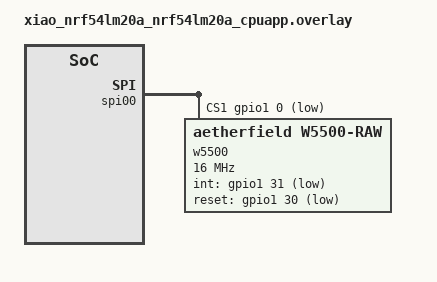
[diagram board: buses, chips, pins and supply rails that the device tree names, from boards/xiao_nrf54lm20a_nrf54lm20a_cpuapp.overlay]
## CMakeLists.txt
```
cmake_minimum_required(VERSION 3.20.0)
find_package(Zephyr REQUIRED HINTS $ENV{ZEPHYR_BASE})

project(pixel-gateway)

# aura_radio.h — the source of truth for the wire format. Shared with the
# device firmware so the two cannot drift.
target_include_directories(app PRIVATE ${CMAKE_CURRENT_SOURCE_DIR}/../../include)

target_sources(app PRIVATE
  src/main.c
  src/w5500.c
  src/link.c
)
```

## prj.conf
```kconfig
# Aetherfield Pixel gateway — XIAO nRF54LM20A + W5500.
#
# Note what is NOT here: CONFIG_NET_L2_ETHERNET, CONFIG_NET_IPV4,
# CONFIG_NET_SOCKETS. The W5500 runs its own TCP stack in silicon and we drive
# it over SPI, so Zephyr's networking subsystem stays out of the image. That is
# what lets the 802.15.4 raw path keep owning net_recv_data() — turning on the
# IP stack would put Zephyr's Ethernet driver in the same symbol.

# --- 802.15.4 raw mode: unchanged from the working gateway firmware ---------
CONFIG_NETWORKING=y
CONFIG_IEEE802154=y
CONFIG_IEEE802154_RAW_MODE=y
CONFIG_NET_PKT_TIMESTAMP=y
CONFIG_NRF_802154_RX_BUFFERS=48

CONFIG_MAIN_STACK_SIZE=2048
CONFIG_HEAP_MEM_POOL_SIZE=8192

# --- W5500 ------------------------------------------------------------------
CONFIG_SPI=y
CONFIG_GPIO=y
# MAC address is derived from the SoC's factory device ID.
CONFIG_HWINFO=y

# --- console / shell --------------------------------------------------------
# The shell is not a convenience here: link.c routes every inbound server
# command through shell_execute_cmd(), so the command table IS the network
# command surface. Disabling the shell disables downlink.
CONFIG_SHELL=y
CONFIG_SHELL_BACKEND_SERIAL=y
CONFIG_SHELL_VT100_COLORS=n
# Async telemetry from the radio thread interleaves with the shell prompt, and
# the shell redraws it with VT100 cursor moves that land mid-line and break any
# parser reading it.
CONFIG_SHELL_VT100_COMMANDS=n

CONFIG_LOG=y
CONFIG_LOG_MODE_DEFERRED=y

# RF switch power/control are regulator-fixed nodes with regulator-boot-on;
# without this the RF switch IC is never powered and there is NO antenna path.
CONFIG_REGULATOR=y
```

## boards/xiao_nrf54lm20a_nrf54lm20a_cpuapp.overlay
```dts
/*
 * Aetherfield Pixel gateway — Seeed XIAO nRF54LM20A + Adafruit W5500.
 *
 * Wiring (XIAO header pin -> SoC pin):
 *
 *   W5500 SCK   D8    P1.04   |
 *   W5500 MISO  D9    P1.05   |  fixed: this is the XIAO SPI header
 *   W5500 MOSI  D10   P1.06   |
 *   W5500 CS    D0    P1.00
 *   W5500 INT   D1    P1.31   (wired, but the driver polls — see below)
 *   W5500 RST   D2    P1.30
 *
 * Feed the breakout from 5V, not 3V3. The W5500 pulls ~150 mA with the link
 * up, which is more than the XIAO's own regulator should be asked for.
 *
 * D6/D7 are left alone so uart21 stays available as a debug console.
 */

/ {
	chosen {
		/* Console and shell over the onboard SAMD11 to USB-C. The
		 * server link is Ethernet, so the UART is purely for humans. */
		zephyr,console = &uart20;
		zephyr,shell-uart = &uart20;
	};
};

&spi00 {
	status = "okay";

	/*
	 * Entry 0 is whatever the board already had — keep it so any onboard
	 * SPI device keeps its chip select. The W5500 is appended as entry 1,
	 * which is what its reg = <1> selects.
	 */
	cs-gpios = <&gpio2 5 GPIO_ACTIVE_LOW>,
		   <&gpio1 0 GPIO_ACTIVE_LOW>;   /* D0 */

	w5500: w5500@1 {
		compatible = "aetherfield,w5500-raw";
		reg = <1>;
		/* 16 MHz. The part will do far more, but this is a flying-lead
		 * breakout on a header — leave the margin in. */
		spi-max-frequency = <16000000>;
		int-gpios   = <&gpio1 31 GPIO_ACTIVE_LOW>;  /* D1 */
		reset-gpios = <&gpio1 30 GPIO_ACTIVE_LOW>;  /* D2 */
	};
};
```

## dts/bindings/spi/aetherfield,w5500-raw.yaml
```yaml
# WIZnet W5500 addressed directly through its own hardware TCP sockets.
#
# Deliberately NOT "wiznet,w5500": that compatible binds Zephyr's Ethernet
# driver, which pushes frames up the IP stack through net_recv_data() — the
# same symbol the raw 802.15.4 receive path already owns. Driving the W5500's
# on-chip TCP stack instead keeps Zephyr networking out of the image entirely,
# so the radio code needs no changes at all.

description: WIZnet W5500 driven via its on-chip TCP/IP stack

compatible: "aetherfield,w5500-raw"

include: spi-device.yaml

properties:
  int-gpios:
    type: phandle-array
    required: false
    description: W5500 INTn, active low. Unused today; polled instead.

  reset-gpios:
    type: phandle-array
    required: true
    description: W5500 RSTn, active low. Held low >500us to reset the chip.
```

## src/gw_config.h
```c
/*
 * Per-gateway configuration.
 *
 * Static addressing, deliberately. On a dedicated event LAN with four
 * gateways per server there is no DHCP server worth depending on at 3am, and
 * a fixed address means "which gateway is that" is answerable from a switch
 * port. The last octet is the gateway number, so gw-01 is .11, gw-02 is .12.
 *
 * Override any of these at build time without editing the file:
 *   west build -- -DCONFIG_... no; these are plain defines, so use:
 *   -DEXTRA_CFLAGS="-DGW_INDEX=2"
 */
#ifndef GW_CONFIG_H
#define GW_CONFIG_H

/* 1..4 within a server's group. Sets the IP and the HELLO name. */
#ifndef GW_INDEX
#define GW_INDEX 1
#endif

/* Server (the Beelink) and the port aetherfield-pixel listens on. */
#define GW_SERVER_IP    "10.10.0.1"
#define GW_SERVER_PORT  9000

/* This gateway. */
#define GW_IP_PREFIX    "10.10.0."
#define GW_IP_BASE      10          /* + GW_INDEX  ->  10.10.0.11 for gw-01 */
#define GW_NETMASK      "255.255.255.0"
#define GW_ROUTER       "10.10.0.254"

/* Local TCP source port. Distinct per gateway only to make packet captures
 * easier to read; the server does not care. */
#define GW_LOCAL_PORT   (50000 + GW_INDEX)

/*
 * Link timings, from docs/PROTOCOL.md.
 *   PING when idle so NAT and switch state stay alive and both ends get a
 *   liveness signal; reconnect forever, because the server never dials out
 *   and a gateway that gives up is gone until someone power-cycles it.
 */
#define GW_PING_INTERVAL_MS   25000
#define GW_RECONNECT_MIN_MS   500
#define GW_RECONNECT_MAX_MS   15000

/* Outbound line buffer. Beacons at 10 s across a few hundred devices is a
 * few hundred bytes a second, so this is generous. */
#define GW_TXQ_BYTES          4096
#define GW_LINE_MAX           256

#endif /* GW_CONFIG_H */
```

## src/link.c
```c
/*
 * Server link. See link.h.
 *
 * One thread owns the socket and does everything on it, so there is no locking
 * around the W5500 beyond the outbound ring buffer. Telemetry producers (the
 * radio receive path, the shell) only ever push bytes into that ring.
 *
 * Inbound lines are handed to the Zephyr shell with shell_execute_cmd(). That
 * is deliberate and it is the reason this file is short: every command the
 * server can send — 'aura cmd ...', 'aura op ...', 'aura identify ...' — is
 * already implemented as a shell command in main.c, tested from the console,
 * and now reachable from the network with no duplicate parser to drift.
 */

#include <zephyr/kernel.h>
#include <zephyr/shell/shell.h>
#include <zephyr/sys/ring_buffer.h>
#include <zephyr/sys/printk.h>
#include <zephyr/logging/log.h>
#include <stdarg.h>
#include <stdio.h>
#include <string.h>

#include "link.h"
#include "w5500.h"
#include "gw_config.h"

LOG_MODULE_REGISTER(link, CONFIG_LOG_DEFAULT_LEVEL);

#define STACK_SIZE 3072
#define PRIORITY   6

static K_THREAD_STACK_DEFINE(link_stack, STACK_SIZE);
static struct k_thread link_thread_data;

RING_BUF_DECLARE(txq, GW_TXQ_BYTES);
static K_MUTEX_DEFINE(txq_lock);

static atomic_t g_up = ATOMIC_INIT(0);

/* Assembled-but-unsent partial line from gw_emit(). */
static char   g_line[GW_LINE_MAX];
static size_t g_line_len;
static K_MUTEX_DEFINE(line_lock);

static char g_gw_name[16];

bool link_up(void)
{
	return atomic_get(&g_up) != 0;
}

/* ---- outbound ----------------------------------------------------------- */

static void txq_put(const char *s, size_t len)
{
	k_mutex_lock(&txq_lock, K_FOREVER);

	/*
	 * If the queue is full the link is down or the server has stopped
	 * reading. Drop the OLDEST data, not the newest: current presence is
	 * worth more than a backlog of stale beacons, and dropping the new
	 * line would mean the first thing the server sees after a stall is
	 * already out of date.
	 */
	uint32_t space = ring_buf_space_get(&txq);

	if (space < len) {
		uint8_t scratch[128];
		uint32_t need = len - space;

		while (need > 0) {
			uint32_t n = MIN(need, sizeof(scratch));
			uint32_t got = ring_buf_get(&txq, scratch, n);

			if (got == 0) {
				break;
			}
			need -= got;
		}
	}
	ring_buf_put(&txq, (const uint8_t *)s, len);
	k_mutex_unlock(&txq_lock);
}

void gw_emit(const char *fmt, ...)
{
	char chunk[GW_LINE_MAX];
	va_list ap;

	va_start(ap, fmt);
	int n = vsnprintk(chunk, sizeof(chunk), fmt, ap);
	va_end(ap);

	if (n <= 0) {
		return;
	}
	if (n >= (int)sizeof(chunk)) {
		n = sizeof(chunk) - 1;
	}

	/* Always mirror to the local console, unconditionally and first, so a
	 * human on USB still sees telemetry when the link is down — which is
	 * exactly when they will be looking. */
	printk("%s", chunk);

	k_mutex_lock(&line_lock, K_FOREVER);
	for (int i = 0; i < n; i++) {
		char c = chunk[i];

		if (g_line_len < sizeof(g_line) - 1) {
			g_line[g_line_len++] = c;
		}
		if (c == '\n') {
			txq_put(g_line, g_line_len);
			g_line_len = 0;
		}
	}
	k_mutex_unlock(&line_lock);
}

/* Send a control line immediately, bypassing the queue's drop policy. */
static int send_now(const char *s)
{
	size_t len = strlen(s);
	size_t sent = 0;

	while (sent < len) {
		int n = w5500_send((const uint8_t *)s + sent, len - sent);

		if (n < 0) {
			return n;
		}
		if (n == 0) {
			k_msleep(2);
			continue;
		}
		sent += n;
	}
	return 0;
}

static int drain_txq(void)
{
	uint8_t buf[256];

	for (;;) {
		k_mutex_lock(&txq_lock, K_FOREVER);
		uint32_t n = ring_buf_get(&txq, buf, sizeof(buf));
		k_mutex_unlock(&txq_lock);

		if (n == 0) {
			return 0;
		}

		uint32_t sent = 0;

		while (sent < n) {
			int w = w5500_send(buf + sent, n - sent);

			if (w < 0) {
				return w;
			}
			if (w == 0) {
				k_msleep(2);
				continue;
			}
			sent += w;
		}
	}
}

/* ---- inbound ------------------------------------------------------------ */

static void handle_line(char *line)
{
	/* Trim CR and trailing space so a line typed into a telnet session
	 * behaves the same as one from the server. */
	size_t len = strlen(line);

	while (len && (line[len - 1] == '\r' || line[len - 1] == ' ')) {
		line[--len] = '\0';
	}
	if (len == 0) {
		return;
	}

	if (strcmp(line, "PING") == 0) {
		send_now("PONG\n");
		return;
	}
	if (strcmp(line, "PONG") == 0) {
		return;
	}

	/*
	 * Anything else is a gateway shell command. Its output goes to the
	 * console rather than back down the socket — the server learns what
	 * happened from the next round of beacons, which carry the CMD seq
	 * each device actually applied. That is a better acknowledgement than
	 * the gateway saying "I sent it".
	 */
	int err = shell_execute_cmd(NULL, line);

	if (err) {
		LOG_WRN("server sent '%s' -> %d", line, err);
	}
}

static void pump_rx(void)
{
	static char acc[GW_LINE_MAX];
	static size_t acc_len;
	uint8_t buf[256];

	for (;;) {
		int n = w5500_recv(buf, sizeof(buf));

		if (n <= 0) {
			return;
		}
		for (int i = 0; i < n; i++) {
			char c = (char)buf[i];

			if (c == '\n') {
				acc[acc_len] = '\0';
				handle_line(acc);
				acc_len = 0;
			} else if (acc_len < sizeof(acc) - 1) {
				acc[acc_len++] = c;
			} else {
				/* Over-long line. The protocol says the server
				 * drops a connection that sends one; we just
				 * discard and resynchronise at the next newline
				 * rather than tearing down a link mid-show over
				 * one bad line. */
				acc_len = 0;
			}
		}
	}
}

/* ---- thread ------------------------------------------------------------- */

static void link_thread(void *a, void *b, void *c)
{
	ARG_UNUSED(a); ARG_UNUSED(b); ARG_UNUSED(c);

	char ip[16];
	uint32_t backoff = GW_RECONNECT_MIN_MS;

	snprintk(g_gw_name, sizeof(g_gw_name), "gw-%02d", GW_INDEX);
	snprintk(ip, sizeof(ip), "%s%d", GW_IP_PREFIX, GW_IP_BASE + GW_INDEX);

	while (w5500_init(ip, GW_NETMASK, GW_ROUTER) < 0) {
		LOG_ERR("W5500 init failed; retrying in 5 s");
		k_msleep(5000);
	}

	for (;;) {
		atomic_set(&g_up, 0);

		if (!w5500_link_up()) {
			LOG_WRN("no Ethernet link — check the cable");
			while (!w5500_link_up()) {
				k_msleep(500);
			}
			LOG_INF("Ethernet link up");
		}

		LOG_INF("connecting to %s:%d as %s",
			GW_SERVER_IP, GW_SERVER_PORT, g_gw_name);
		w5500_connect(GW_SERVER_IP, GW_SERVER_PORT, GW_LOCAL_PORT);

		/* Bounded handshake window rather than blocking forever on a
		 * server that is not up yet. */
		int waited = 0;

		while (w5500_state() == W5500_CONNECTING && waited < 5000) {
			k_msleep(50);
			waited += 50;
		}

		if (w5500_state() != W5500_ESTABLISHED) {
			w5500_close();
			LOG_WRN("connect failed; retry in %u ms", backoff);
			k_msleep(backoff);
			backoff = MIN(backoff * 2, GW_RECONNECT_MAX_MS);
			continue;
		}

		/* HELLO first on every connect. Until it arrives the server can
		 * only identify us by IP and its console shows '(no HELLO)'. */
		char hello[64];

		snprintk(hello, sizeof(hello), "HELLO gw=%s fw=%s proto=2\n",
			 g_gw_name, "1.0.0");
		if (send_now(hello) < 0) {
			w5500_close();
			continue;
		}

		LOG_INF("link established");
		atomic_set(&g_up, 1);
		backoff = GW_RECONNECT_MIN_MS;

		int64_t last_tx = k_uptime_get();

		while (w5500_state() == W5500_ESTABLISHED) {
			if (drain_txq() < 0) {
				break;
			}
			pump_rx();

			if (!ring_buf_is_empty(&txq)) {
				last_tx = k_uptime_get();
			} else if (k_uptime_get() - last_tx >
				   GW_PING_INTERVAL_MS) {
				if (send_now("PING\n") < 0) {
					break;
				}
				last_tx = k_uptime_get();
			}
			k_msleep(5);
		}

		atomic_set(&g_up, 0);
		LOG_WRN("link lost; reconnecting");
		w5500_close();
		k_msleep(backoff);
		backoff = MIN(backoff * 2, GW_RECONNECT_MAX_MS);
	}
}

int link_init(void)
{
	k_thread_create(&link_thread_data, link_stack, STACK_SIZE,
			link_thread, NULL, NULL, NULL,
			PRIORITY, 0, K_NO_WAIT);
	k_thread_name_set(&link_thread_data, "gwlink");
	return 0;
}
```

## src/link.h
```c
/*
 * Server link: the gateway half of the line protocol in docs/PROTOCOL.md.
 *
 * Newline-delimited UTF-8 over one long-lived TCP connection. The gateway
 * dials the server; the server never dials out. Same text the gateway used to
 * print to the UART for the Pi bridge, so this was a transport swap and not a
 * protocol change.
 */
#ifndef LINK_H
#define LINK_H

#include <stdbool.h>

/* Start the link thread. Returns immediately; the thread brings the W5500 up,
 * connects, and reconnects forever. */
int link_init(void);

/* True once the socket is established and HELLO has gone out. */
bool link_up(void);

/*
 * Emit one line of telemetry. Printf semantics. Output is buffered until a
 * '\n' arrives, then the completed line goes to the server AND to the local
 * console, so a human on USB sees exactly what the server sees.
 *
 * Safe to call from any thread, including the radio receive path.
 */
void gw_emit(const char *fmt, ...);

#endif /* LINK_H */
```

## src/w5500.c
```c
/*
 * W5500 hardware-TCP driver. See w5500.h for why this exists rather than
 * Zephyr's wiznet,w5500 Ethernet driver.
 *
 * SPI framing, from the datasheet: every transaction is
 *
 *   [addr_hi] [addr_lo] [control] [data...]
 *
 * where control is  (block << 3) | (write << 2) | operation_mode.
 * Operation mode 0 is variable-length data, which is what lets us keep the
 * chip select asserted for a burst of arbitrary size.
 *
 * Block numbers: 0 is the common register file; each socket n then has three
 * blocks — registers at n*4+1, TX buffer at n*4+2, RX buffer at n*4+3.
 */

#include <zephyr/kernel.h>
#include <zephyr/device.h>
#include <zephyr/drivers/spi.h>
#include <zephyr/drivers/gpio.h>
#include <zephyr/drivers/hwinfo.h>
#include <zephyr/logging/log.h>
#include <string.h>
#include <stdlib.h>

#include "w5500.h"

LOG_MODULE_REGISTER(w5500, CONFIG_LOG_DEFAULT_LEVEL);

#define W5500_NODE DT_NODELABEL(w5500)

static const struct spi_dt_spec spi = SPI_DT_SPEC_GET(W5500_NODE,
	SPI_WORD_SET(8) | SPI_OP_MODE_MASTER | SPI_TRANSFER_MSB, 0);
static const struct gpio_dt_spec rst =
	GPIO_DT_SPEC_GET(W5500_NODE, reset_gpios);

/* ---- block selectors ---------------------------------------------------- */
#define BLK_COMMON        0x00
#define BLK_SOCK_REG(n)   ((n) * 4 + 1)
#define BLK_SOCK_TX(n)    ((n) * 4 + 2)
#define BLK_SOCK_RX(n)    ((n) * 4 + 3)

/* ---- common registers --------------------------------------------------- */
#define CR_MR             0x0000
#define CR_GAR            0x0001
#define CR_SUBR           0x0005
#define CR_SHAR           0x0009
#define CR_SIPR           0x000F
#define CR_PHYCFGR        0x002E
#define CR_VERSIONR       0x0039

#define MR_RST            0x80
#define PHYCFGR_LNK       0x01
#define W5500_VERSION     0x04

/* ---- socket registers --------------------------------------------------- */
#define SR_MR             0x0000
#define SR_CR             0x0001
#define SR_IR             0x0002
#define SR_SR             0x0003
#define SR_PORT           0x0004
#define SR_DIPR           0x000C
#define SR_DPORT          0x0010
#define SR_TX_FSR         0x0020
#define SR_TX_RD          0x0022
#define SR_TX_WR          0x0024
#define SR_RX_RSR         0x0026
#define SR_RX_RD          0x0028
#define SR_KPALVTR        0x002F

#define Sn_MR_TCP         0x01

#define Sn_CR_OPEN        0x01
#define Sn_CR_CONNECT     0x04
#define Sn_CR_DISCON      0x08
#define Sn_CR_CLOSE       0x10
#define Sn_CR_SEND        0x20
#define Sn_CR_RECV        0x40

#define Sn_SR_CLOSED      0x00
#define Sn_SR_INIT        0x13
#define Sn_SR_SYNSENT     0x15
#define Sn_SR_ESTABLISHED 0x17
#define Sn_SR_CLOSE_WAIT  0x1C

#define Sn_IR_SEND_OK     0x10
#define Sn_IR_TIMEOUT     0x08
#define Sn_IR_DISCON      0x02

#define SOCK 0    /* we use socket 0 and only socket 0 */

/* ---- raw register access ------------------------------------------------ */

static int xfer(uint16_t addr, uint8_t block, bool write,
		const uint8_t *out, uint8_t *in, size_t len)
{
	uint8_t hdr[3] = {
		(uint8_t)(addr >> 8),
		(uint8_t)(addr & 0xFF),
		(uint8_t)((block << 3) | (write ? 0x04 : 0x00)),
	};

	struct spi_buf tx_bufs[2] = {
		{ .buf = hdr, .len = sizeof(hdr) },
		{ .buf = (void *)out, .len = len },
	};
	const struct spi_buf_set tx = {
		.buffers = tx_bufs,
		.count = write ? 2 : 1,
	};

	if (write) {
		return spi_write_dt(&spi, &tx);
	}

	/* Read: clock out the header, discard those three bytes, then take
	 * len bytes back. The rx set must cover the header too or the driver
	 * will start capturing from the wrong offset. */
	uint8_t dump[3];
	struct spi_buf rx_bufs[2] = {
		{ .buf = dump, .len = sizeof(dump) },
		{ .buf = in,   .len = len },
	};
	const struct spi_buf_set rx = { .buffers = rx_bufs, .count = 2 };

	return spi_transceive_dt(&spi, &tx, &rx);
}

static uint8_t rd8(uint16_t addr, uint8_t block)
{
	uint8_t v = 0;

	xfer(addr, block, false, NULL, &v, 1);
	return v;
}

static void wr8(uint16_t addr, uint8_t block, uint8_t v)
{
	xfer(addr, block, true, &v, NULL, 1);
}

static void wrn(uint16_t addr, uint8_t block, const uint8_t *v, size_t n)
{
	xfer(addr, block, true, v, NULL, n);
}

/*
 * The 16-bit free/received-size registers are updated by the chip
 * asynchronously, so a single read can straddle an update and return a
 * value that was never true. The datasheet's remedy is to read until two
 * consecutive reads agree.
 */
static uint16_t rd16_stable(uint16_t addr, uint8_t block)
{
	uint8_t b[2];
	uint16_t prev, cur;

	xfer(addr, block, false, NULL, b, 2);
	prev = (uint16_t)((b[0] << 8) | b[1]);

	for (int i = 0; i < 8; i++) {
		xfer(addr, block, false, NULL, b, 2);
		cur = (uint16_t)((b[0] << 8) | b[1]);
		if (cur == prev) {
			return cur;
		}
		prev = cur;
	}
	return cur;
}

static void wr16(uint16_t addr, uint8_t block, uint16_t v)
{
	uint8_t b[2] = { (uint8_t)(v >> 8), (uint8_t)(v & 0xFF) };

	wrn(addr, block, b, 2);
}

/* Issue a socket command and wait for the chip to clear it. */
static void sock_cmd(uint8_t cmd)
{
	wr8(SR_CR, BLK_SOCK_REG(SOCK), cmd);
	for (int i = 0; i < 1000 && rd8(SR_CR, BLK_SOCK_REG(SOCK)); i++) {
		k_busy_wait(10);
	}
}

static uint8_t sock_status(void)
{
	return rd8(SR_SR, BLK_SOCK_REG(SOCK));
}

/* ---- address parsing ---------------------------------------------------- */

static int parse_ip(const char *s, uint8_t out[4])
{
	for (int i = 0; i < 4; i++) {
		char *end;
		long v = strtol(s, &end, 10);

		if (end == s || v < 0 || v > 255) {
			return -EINVAL;
		}
		out[i] = (uint8_t)v;
		s = (i < 3) ? end + 1 : end;
		if (i < 3 && *end != '.') {
			return -EINVAL;
		}
	}
	return 0;
}

/*
 * MAC from the SoC's factory device ID, with the locally-administered bit set
 * and the multicast bit cleared. Unique per unit with no provisioning step,
 * which matters when there are twenty of these in a venue.
 */
static void derive_mac(uint8_t mac[6])
{
	uint8_t id[16] = { 0 };
	ssize_t n = hwinfo_get_device_id(id, sizeof(id));

	if (n <= 0) {
		/* No hardware ID available. Fall back to something stable and
		 * obviously synthetic rather than a random MAC that changes on
		 * every boot and fills the switch's MAC table. */
		LOG_WRN("no hwinfo device id; using a fixed fallback MAC");
		id[0] = 0xAE; id[1] = 0x7F; id[2] = 0x00;
		id[3] = 0x00; id[4] = 0x00; n = 5;
	}

	mac[0] = 0x02;                       /* locally administered, unicast */
	for (int i = 1; i < 6; i++) {
		mac[i] = id[(n - i) % n];
	}
}

/* ---- public ------------------------------------------------------------- */

int w5500_init(const char *ip, const char *mask, const char *router)
{
	uint8_t v4[4], mac[6];
	int err;

	if (!spi_is_ready_dt(&spi)) {
		LOG_ERR("SPI not ready");
		return -ENODEV;
	}
	if (!gpio_is_ready_dt(&rst)) {
		LOG_ERR("reset GPIO not ready");
		return -ENODEV;
	}

	/* Hard reset. The datasheet wants RSTn low for at least 500 us and
	 * allows up to 50 ms before the chip answers; be generous, this
	 * happens once. */
	gpio_pin_configure_dt(&rst, GPIO_OUTPUT_ACTIVE);
	k_msleep(2);
	gpio_pin_set_dt(&rst, 0);
	k_msleep(100);

	/* Software reset on top, then confirm we are actually talking to a
	 * W5500 and not to an open bus. VERSIONR is a constant 0x04 — if this
	 * check fails, suspect wiring or chip select before anything else. */
	wr8(CR_MR, BLK_COMMON, MR_RST);
	k_msleep(10);

	uint8_t ver = rd8(CR_VERSIONR, BLK_COMMON);

	if (ver != W5500_VERSION) {
		LOG_ERR("VERSIONR=0x%02X, expected 0x%02X — check SPI wiring "
			"and that CS is on D0", ver, W5500_VERSION);
		return -ENODEV;
	}

	derive_mac(mac);
	wrn(CR_SHAR, BLK_COMMON, mac, 6);

	if ((err = parse_ip(ip, v4)) < 0) {
		return err;
	}
	wrn(CR_SIPR, BLK_COMMON, v4, 4);

	if ((err = parse_ip(mask, v4)) < 0) {
		return err;
	}
	wrn(CR_SUBR, BLK_COMMON, v4, 4);

	if ((err = parse_ip(router, v4)) < 0) {
		return err;
	}
	wrn(CR_GAR, BLK_COMMON, v4, 4);

	LOG_INF("W5500 up, MAC %02X:%02X:%02X:%02X:%02X:%02X, IP %s",
		mac[0], mac[1], mac[2], mac[3], mac[4], mac[5], ip);
	return 0;
}

bool w5500_link_up(void)
{
	return (rd8(CR_PHYCFGR, BLK_COMMON) & PHYCFGR_LNK) != 0;
}

int w5500_connect(const char *server_ip, uint16_t server_port,
		  uint16_t local_port)
{
	uint8_t v4[4];
	int err = parse_ip(server_ip, v4);

	if (err < 0) {
		return err;
	}

	sock_cmd(Sn_CR_CLOSE);
	wr8(SR_MR, BLK_SOCK_REG(SOCK), Sn_MR_TCP);
	wr16(SR_PORT, BLK_SOCK_REG(SOCK), local_port);
	sock_cmd(Sn_CR_OPEN);

	if (sock_status() != Sn_SR_INIT) {
		LOG_ERR("socket would not open (SR=0x%02X)", sock_status());
		return -EIO;
	}

	/* TCP keepalive in hardware, 5 s units. Belt and braces alongside the
	 * application PING — this one survives a wedged application thread. */
	wr8(SR_KPALVTR, BLK_SOCK_REG(SOCK), 6);   /* 30 s */

	wrn(SR_DIPR, BLK_SOCK_REG(SOCK), v4, 4);
	wr16(SR_DPORT, BLK_SOCK_REG(SOCK), server_port);
	sock_cmd(Sn_CR_CONNECT);
	return 0;
}

enum w5500_state w5500_state(void)
{
	switch (sock_status()) {
	case Sn_SR_ESTABLISHED:
		return W5500_ESTABLISHED;
	case Sn_SR_INIT:
	case Sn_SR_SYNSENT:
		return W5500_CONNECTING;
	default:
		return W5500_CLOSED;
	}
}

int w5500_send(const uint8_t *buf, size_t len)
{
	if (sock_status() != Sn_SR_ESTABLISHED) {
		return -ENOTCONN;
	}
	if (len == 0) {
		return 0;
	}

	uint16_t free = rd16_stable(SR_TX_FSR, BLK_SOCK_REG(SOCK));

	if (free == 0) {
		return 0;
	}
	if (len > free) {
		len = free;
	}

	uint16_t wr = rd16_stable(SR_TX_WR, BLK_SOCK_REG(SOCK));

	/* The TX buffer is a 16-bit ring, and the chip handles the wrap for
	 * us — the write pointer is an address into the socket's TX block and
	 * the block is exactly the buffer, so a burst that runs off the end
	 * continues at the start. Nothing to split. */
	xfer(wr, BLK_SOCK_TX(SOCK), true, buf, NULL, len);

	wr16(SR_TX_WR, BLK_SOCK_REG(SOCK), (uint16_t)(wr + len));
	sock_cmd(Sn_CR_SEND);

	/* Wait for SEND_OK so a caller that loops never runs ahead of the
	 * chip. TIMEOUT here means the peer stopped acknowledging. */
	for (int i = 0; i < 2000; i++) {
		uint8_t ir = rd8(SR_IR, BLK_SOCK_REG(SOCK));

		if (ir & Sn_IR_SEND_OK) {
			wr8(SR_IR, BLK_SOCK_REG(SOCK), Sn_IR_SEND_OK);
			return (int)len;
		}
		if (ir & Sn_IR_TIMEOUT) {
			wr8(SR_IR, BLK_SOCK_REG(SOCK), Sn_IR_TIMEOUT);
			LOG_WRN("TX timeout — peer stopped acking");
			return -ETIMEDOUT;
		}
		k_msleep(1);
	}
	return -ETIMEDOUT;
}

int w5500_recv(uint8_t *buf, size_t max)
{
	uint8_t st = sock_status();

	if (st != Sn_SR_ESTABLISHED && st != Sn_SR_CLOSE_WAIT) {
		return -ENOTCONN;
	}

	uint16_t avail = rd16_stable(SR_RX_RSR, BLK_SOCK_REG(SOCK));

	if (avail == 0) {
		return 0;
	}
	if (avail > max) {
		avail = (uint16_t)max;
	}

	uint16_t rd = rd16_stable(SR_RX_RD, BLK_SOCK_REG(SOCK));

	xfer(rd, BLK_SOCK_RX(SOCK), false, NULL, buf, avail);

	wr16(SR_RX_RD, BLK_SOCK_REG(SOCK), (uint16_t)(rd + avail));
	sock_cmd(Sn_CR_RECV);
	return (int)avail;
}

void w5500_close(void)
{
	sock_cmd(Sn_CR_DISCON);
	sock_cmd(Sn_CR_CLOSE);
}
```

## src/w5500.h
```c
/*
 * WIZnet W5500 driven through its on-chip TCP/IP stack.
 *
 * The W5500 does TCP in silicon across eight hardware sockets. We use one, as
 * a client, and never touch Zephyr's networking subsystem — which is the whole
 * point: the 802.15.4 receive path owns net_recv_data(), and Zephyr's Ethernet
 * driver would need the same symbol.
 *
 * Everything here is synchronous SPI register work. No threads, no callbacks.
 */
#ifndef W5500_H
#define W5500_H

#include <stdint.h>
#include <stddef.h>
#include <stdbool.h>

/* Reset the chip, verify it, and program MAC/IP/mask/router.
 * ip/mask/router are dotted-quad strings. Returns 0 or negative errno. */
int w5500_init(const char *ip, const char *mask, const char *router);

/* PHY link state, straight from PHYCFGR. */
bool w5500_link_up(void);

/* Open socket 0 and start a TCP connect. Non-blocking: poll w5500_state(). */
int w5500_connect(const char *server_ip, uint16_t server_port,
		  uint16_t local_port);

enum w5500_state {
	W5500_CLOSED = 0,
	W5500_CONNECTING,
	W5500_ESTABLISHED,
};

enum w5500_state w5500_state(void);

/* Send. Returns bytes accepted (may be < len if the TX buffer is full),
 * or negative errno. */
int w5500_send(const uint8_t *buf, size_t len);

/* Receive whatever is waiting. Returns bytes read, 0 if none, or negative. */
int w5500_recv(uint8_t *buf, size_t max);

void w5500_close(void);

#endif /* W5500_H */
```
